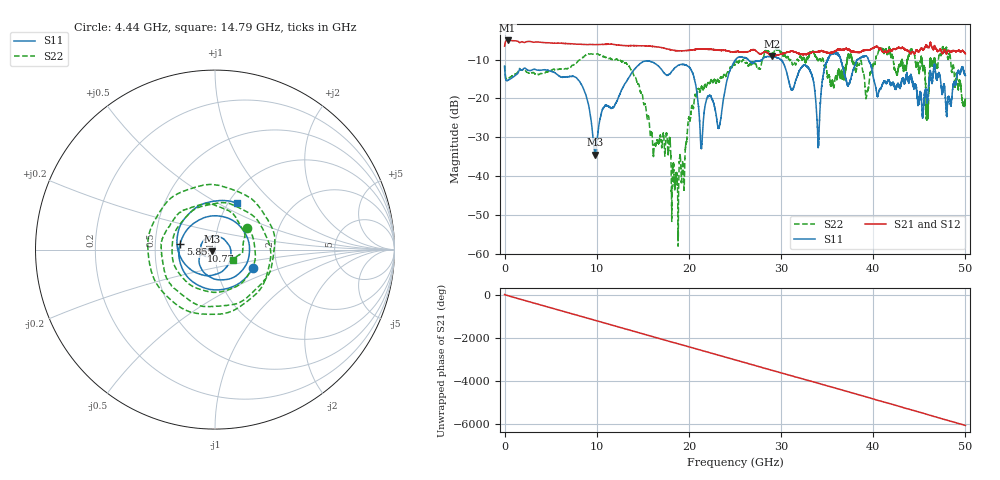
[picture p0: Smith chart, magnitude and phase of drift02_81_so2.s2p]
!Created with skrf (http://scikit-rf.org).
# Hz S RI R 50.0
!freq ReS11 ImS11 ReS21 ImS21 ReS12 ImS12 ReS22 ImS22
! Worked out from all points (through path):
!   10001 points, 300 kHz to 50 GHz, reference 50 ohm
!   highest |S21| = -5.04 dB at 325.3 MHz (marker M1); lowest = -9.0 dB at 29.01 GHz (marker M2)
!   group delay of S21, straight-line fit = 336 ps
!   lowest |S11| = -34.5 dB at 9.82 GHz (marker M3), VSWR 1.04, Z = 48.4 - j0.926 ohm
!   |S11| at or under -10 dB: start of sweep to 25.08 GHz; 29.98 GHz to 35.04 GHz (5.059 GHz wide, 15.6 % of centre); 39.48 GHz to end of sweep (the widest 3 of 9)
!   |S22| runs from -58.1 to -6.6 dB; largest |S21 - S12| = 0.021
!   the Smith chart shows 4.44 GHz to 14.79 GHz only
!   S11 on the Smith chart (normalised r, x): 4.44 GHz: 1.50, -0.32; 5.855 GHz: 0.67, +0.05; 10.77 GHz: 0.86, -0.01; 14.79 GHz: 1.09, +0.62
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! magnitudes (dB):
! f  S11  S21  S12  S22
! 300 kHz  -11.6  -6.5  -6.5  -11.6
! 325.3 MHz  -15.4  -5.0  -5.0  -15.0
! 4.44 GHz  -12.6  -5.6  -5.6  -13.3
! 5.855 GHz  -14.1  -5.7  -5.7  -12.5
! 8.335 GHz  -16.4  -6.0  -6.0  -9.6
! 9.82 GHz  -34.5  -6.1  -6.1  -8.5
! 10.77 GHz  -22.4  -6.1  -6.1  -9.1
! 14.79 GHz  -10.9  -6.4  -6.4  -18.6
! 16.67 GHz  -11.6  -6.7  -6.7  -31.3
! 18.66 GHz  -11.8  -7.7  -7.7  -39.7
! 20.37 GHz  -13.3  -7.5  -7.5  -22.1
! 21.37 GHz  -32.4  -7.2  -7.2  -16.9
! 23.31 GHz  -27.2  -7.5  -7.6  -15.6
! 25 GHz  -10.3  -7.9  -7.9  -11.3
! 29.01 GHz  -9.1  -9.0  -9.0  -8.2
! 33.34 GHz  -14.0  -8.0  -8.1  -8.1
! 34.02 GHz  -32.7  -8.0  -7.9  -10.1
! 35.52 GHz  -8.5  -8.2  -8.0  -15.6
! 41.67 GHz  -15.3  -7.7  -7.8  -7.4
! 45.87 GHz  -20.4  -6.8  -6.9  -21.8
! 47.76 GHz  -17.1  -7.5  -7.5  -7.6
! 50 GHz  -14.1  -8.5  -8.4  -20.0
